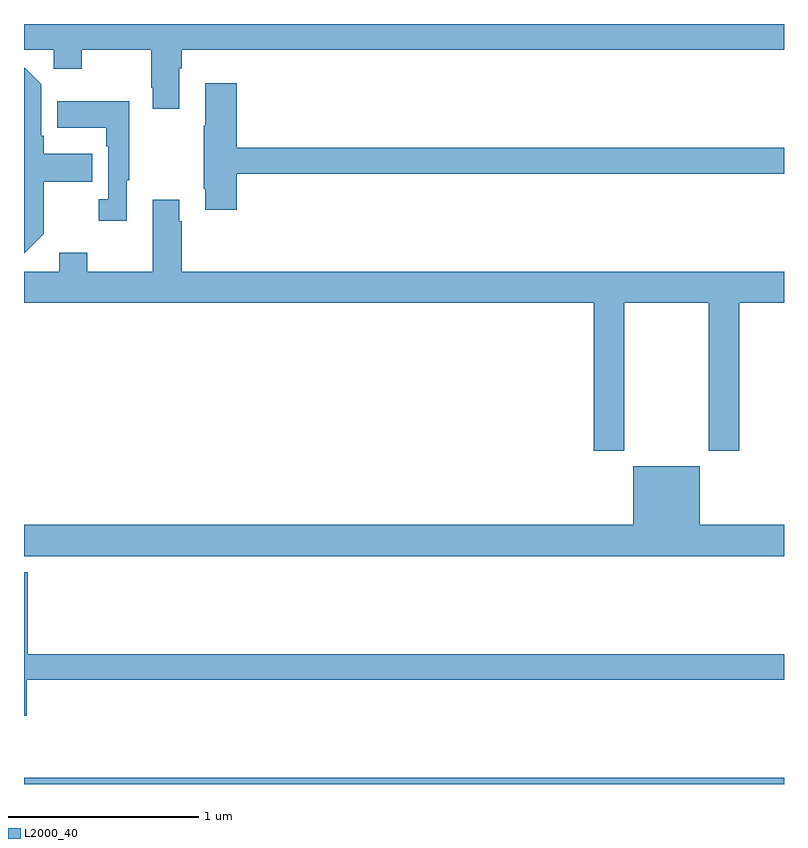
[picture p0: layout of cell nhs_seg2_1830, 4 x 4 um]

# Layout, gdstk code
import gdstk
lib = gdstk.Library(unit=1e-6, precision=1e-09)
def R(c, l, rs):  # rectangles x0, y0, x1, y1
    for r in rs: c.add(gdstk.rectangle(r[:2], r[2:], *l))
def P(c, l, *ps):  # polygons
    for p in ps: c.add(gdstk.Polygon(p, *l))
L2000_40 = (2000, 40)

nhs_seg2_1830 = lib.new_cell('nhs_seg2_1830')
R(nhs_seg2_1830, L2000_40, [(207,615.8,211,615.832)])
P(nhs_seg2_1830, L2000_40, [(207.817,619.568),(207.83,619.568),(207.83,619.664),(211,619.664),(211,619.8),(207,619.8),(207,619.664),(207.156,619.664),(207.156,619.565),(207.303,619.565),(207.303,619.664),(207.67,619.664),(207.67,619.465),(207.677,619.465),(207.677,619.353),(207.817,619.353)],
  [(207.103,618.697),(207.103,618.97),(207.359,618.97),(207.359,619.117),(207.103,619.117),(207.103,619.213),(207.09,619.213),(207.09,619.482),(207.003,619.569),(207,619.569),(207,618.594)],
  [(208.121,619.012),(211,619.012),(211,619.148),(208.121,619.148),(208.121,619.489),(207.953,619.489),(207.953,619.265),(207.946,619.265),(207.946,618.934),(207.953,618.934),(207.953,618.822),(208.121,618.822)],
  [(207.541,618.977),(207.553,618.977),(207.553,619.393),(207.175,619.393),(207.175,619.253),(207.432,619.253),(207.432,619.157),(207.444,619.157),(207.444,618.878),(207.393,618.878),(207.393,618.765),(207.541,618.765)],
  [(210.159,618.332),(210.604,618.332),(210.604,617.553),(210.764,617.553),(210.764,618.332),(211,618.332),(211,618.496),(207.83,618.496),(207.83,618.761),(207.817,618.761),(207.817,618.874),(207.677,618.874),(207.677,618.496),(207.333,618.496),(207.333,618.595),(207.185,618.595),(207.185,618.496),(207,618.496),(207,618.332),(209.999,618.332),(209.999,617.553),(210.159,617.553)],
  [(211,617.164),(210.556,617.164),(210.556,617.473),(210.206,617.473),(210.206,617.164),(207,617.164),(207,617),(211,617)],
  [(207.014,616.348),(211,616.348),(211,616.484),(207.019,616.484),(207.019,616.915),(207,616.915),(207,616.158),(207.014,616.158)])

lib.write_gds('nhs_seg2_1830.gds')
